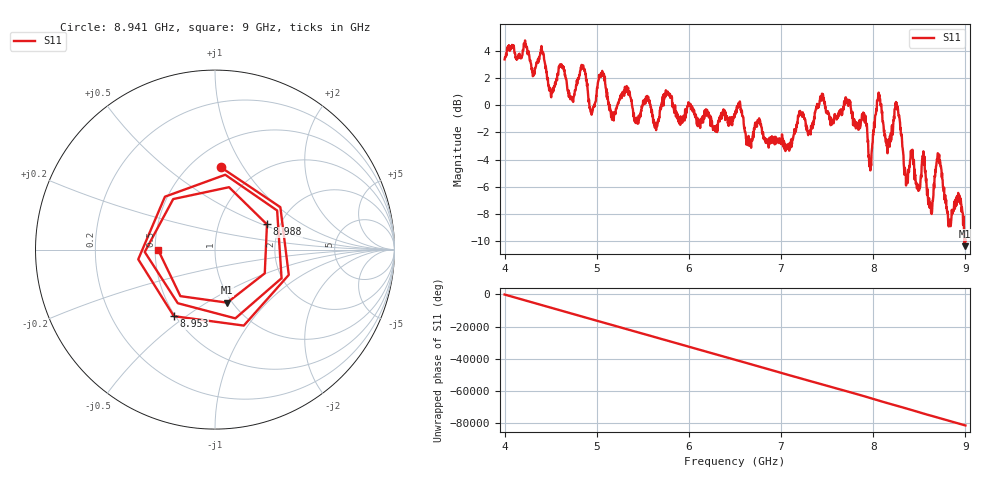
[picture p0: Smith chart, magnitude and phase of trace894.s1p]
! Created with skrf 1.8.0 (http://scikit-rf.org).
# Hz S RI R 50.0
!freq ReS11 ImS11
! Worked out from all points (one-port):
!   1601 points, 4 GHz to 9 GHz, reference 50 ohm
!   lowest |S11| = -10.4 dB at 8.994 GHz (marker M1), VSWR 1.87, Z = 47.5 - j30.9 ohm
!   |S11| at or under -10 dB: 8.989128 GHz to 8.99598 GHz (6.852 MHz wide, 0.0762 % of centre)
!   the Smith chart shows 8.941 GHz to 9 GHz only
!   S11 on the Smith chart (normalised r, x): 8.941 GHz: 0.69, +0.80; 8.953 GHz: 0.49, -0.45; 8.988 GHz: 1.71, +0.54; 9 GHz: 0.52, -0.00
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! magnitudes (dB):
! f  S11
! 4 GHz  3.4
! 4.406 GHz  4.0
! 4.506 GHz  0.6
! 4.625 GHz  2.8
! 4.728 GHz  0.5
! 4.856 GHz  2.8
! 4.944 GHz  -0.7
! 5.05 GHz  2.3
! 5.159 GHz  -0.5
! 5.25 GHz  0.4
! 5.875 GHz  -0.6
! 6.5 GHz  -0.6
! 7.125 GHz  -2.5
! 7.75 GHz  0.3
! 7.969 GHz  -4.8
! 8.056 GHz  0.8
! 8.159 GHz  -2.8
! 8.256 GHz  0.0
! 8.375 GHz  -5.7
! 8.55 GHz  -3.8
! 8.622 GHz  -7.4
! 8.709 GHz  -3.7
! 8.822 GHz  -8.9
! 8.941 GHz  -6.8
! 8.953 GHz  -7.2
! 8.988 GHz  -9.8
! 8.994 GHz  -10.4
! 9 GHz  -10.0
